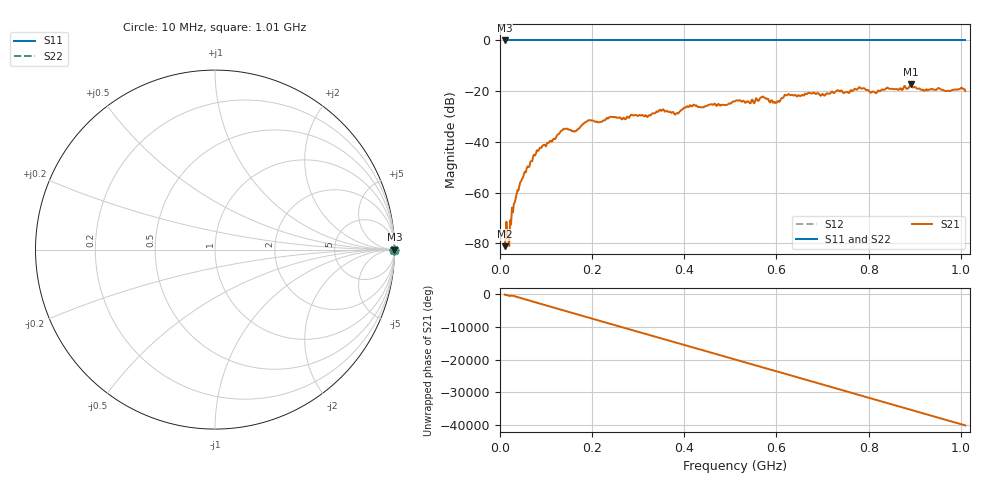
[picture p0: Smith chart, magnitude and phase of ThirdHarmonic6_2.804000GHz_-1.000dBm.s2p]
! 8/17/2025 7:19:37 AM
! C:\ANRITSUVNA\TEMP\TEMP.S2P
! CHANNEL.1
! TR.MEASUREMENT
! RAW.DATA
! RF.CORRECTION.OFF
! AVERAGING.OFF
! IF.BANDWIDTH: 5KHZ
! SWEEPTYPE:  FREQ.SWEEP(Linear)
! Reference Plane Port Info
! PORT:  PORT1  PORT2
! DISTANCE:  0  m  0  m
! TIME:  0  s  0  s
! PHASE.OFFSET:  0  deg.  0  deg.
! LOSS:  0  dB  0  dB
! REF.LOSS:  0  dB  0  dB
! REF.FREQ:  0  Hz  0  Hz
! Power Info
! POWER:  -20  dBm  -20  dBm
! EFF.POWER:  -20  dBm  -20  dBm
! SOURCE.ATTEN:  0  dB  0  dB
! TEST.ATTEN:  0  dB  0  dB
# GHZ S RI R 50.0
! FREQ.GHZ  S11RE  S11IM  S21RE  S21IM  S12RE  S12IM  S22RE  S22IM
!; PortSelection: Port_12
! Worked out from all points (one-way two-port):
!   501 points, 10 MHz to 1.01 GHz, reference 50 ohm
!   highest |S21| = -17.35 dB at 892 MHz (marker M1); lowest = -81.1 dB at 10 MHz (marker M2)
!   lowest |S11| = 0.0 dB at 10 MHz (marker M3)
!   |S11| at or under -10 dB: nowhere
!   |S22| runs from 0.0 to 0.0 dB; largest |S21 - S12| = 1.1
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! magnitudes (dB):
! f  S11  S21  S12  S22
! 10 MHz  0.0  -81.1  0.0  0.0
! 20 MHz  0.0  -81.1  0.0  0.0
! 30 MHz  0.0  -64.5  0.0  0.0
! 42 MHz  0.0  -57.4  0.0  0.0
! 76 MHz  0.0  -45.4  0.0  0.0
! 136 MHz  0.0  -35.3  0.0  0.0
! 162 MHz  0.0  -35.9  0.0  0.0
! 178 MHz  0.0  -33.3  0.0  0.0
! 194 MHz  0.0  -31.5  0.0  0.0
! 322 MHz  0.0  -29.7  0.0  0.0
! 344 MHz  0.0  -28.1  0.0  0.0
! 382 MHz  0.0  -28.8  0.0  0.0
! 416 MHz  0.0  -26.0  0.0  0.0
! 510 MHz  0.0  -24.0  0.0  0.0
! 548 MHz  0.0  -23.3  0.0  0.0
! 570 MHz  0.0  -22.1  0.0  0.0
! 596 MHz  0.0  -24.2  0.0  0.0
! 622 MHz  0.0  -21.6  0.0  0.0
! 678 MHz  0.0  -20.8  0.0  0.0
! 844 MHz  0.0  -19.0  0.0  0.0
! 892 MHz  0.0  -17.4  0.0  0.0
! 1.01 GHz  0.0  -20.0  0.0  0.0
